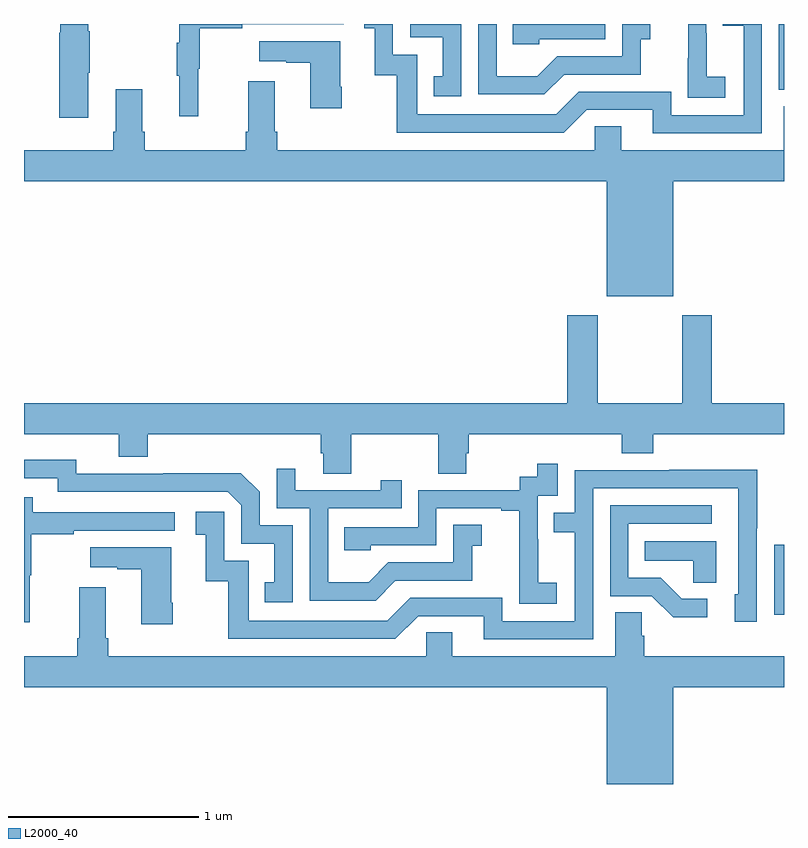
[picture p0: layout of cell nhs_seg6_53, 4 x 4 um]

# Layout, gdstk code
import gdstk
lib = gdstk.Library(unit=1e-6, precision=1e-09)
def R(c, l, rs):  # rectangles x0, y0, x1, y1
    for r in rs: c.add(gdstk.rectangle(r[:2], r[2:], *l))
def P(c, l, *ps):  # polygons
    for p in ps: c.add(gdstk.Polygon(p, *l))
L2000_40 = (2000, 40)

nhs_seg6_53 = lib.new_cell('nhs_seg6_53')
R(nhs_seg6_53, L2000_40, [(116.949,942.39,117,942.76), (116.973,945.153,117,945.5)])
P(nhs_seg6_53, L2000_40, [(116.883,945.5),(116.677,945.5),(116.677,945.49),(116.787,945.49),(116.787,945.021),(116.406,945.021),(116.406,945.144),(115.92,945.144),(115.8,945.024),(115.071,945.024),(115.071,945.339),(114.942,945.339),(114.942,945.5),(114.792,945.5),(114.792,945.477),(114.845,945.477),(114.845,945.231),(114.963,945.231),(114.963,944.928),(115.842,944.928),(115.962,945.048),(116.309,945.048),(116.309,944.925),(116.883,944.925)],
  [(115.713,945.42),(116.058,945.42),(116.058,945.5),(115.573,945.5),(115.573,945.393),(115.713,945.393)],
  [(116.692,945.223),(116.594,945.223),(116.594,945.452),(116.592,945.452),(116.592,945.5),(116.495,945.5),(116.495,945.319),(116.494,945.319),(116.494,945.113),(116.692,945.113)],
  [(113.918,945.264),(113.926,945.264),(113.926,945.478),(114.149,945.478),(114.149,945.498),(114.682,945.498),(114.682,945.5),(113.816,945.5),(113.816,945.401),(113.805,945.401),(113.805,945.227),(113.816,945.227),(113.816,945.015),(113.918,945.015)],
  [(113.338,945.244),(113.346,945.244),(113.346,945.461),(113.338,945.461),(113.338,945.5),(113.192,945.5),(113.192,945.455),(113.185,945.455),(113.185,945.006),(113.338,945.006)],
  [(115.843,945.234),(116.247,945.234),(116.247,945.419),(116.296,945.419),(116.296,945.5),(116.148,945.5),(116.148,945.33),(115.806,945.33),(115.702,945.226),(115.488,945.226),(115.488,945.5),(115.392,945.5),(115.392,945.129),(115.738,945.129)],
  [(115.302,945.5),(115.032,945.5),(115.032,945.429),(115.205,945.429),(115.205,945.225),(115.156,945.225),(115.156,945.12),(115.302,945.12)],
  [(114.672,945.169),(114.664,945.169),(114.664,945.409),(114.237,945.409),(114.237,945.305),(114.38,945.305),(114.38,945.295),(114.506,945.295),(114.506,945.057),(114.672,945.057)],
  [(116.416,944.672),(117,944.672),(117,945.068),(116.999,945.068),(116.999,944.836),(116.143,944.836),(116.143,944.963),(116.004,944.963),(116.004,944.836),(114.332,944.836),(114.332,944.932),(114.319,944.932),(114.319,945.199),(114.179,945.199),(114.179,944.932),(114.167,944.932),(114.167,944.836),(113.636,944.836),(113.636,944.932),(113.623,944.932),(113.623,945.157),(113.483,945.157),(113.483,944.932),(113.471,944.932),(113.471,944.836),(113,944.836),(113,944.672),(116.066,944.672),(116.066,944.066),(116.416,944.066)],
  [(114.723,943.34),(115.18,943.34),(115.18,943.132),(115.327,943.132),(115.327,943.242),(115.34,943.242),(115.34,943.34),(116.147,943.34),(116.147,943.241),(116.312,943.241),(116.312,943.34),(117,943.34),(117,943.504),(116.619,943.504),(116.619,943.966),(116.464,943.966),(116.464,943.504),(116.019,943.504),(116.019,943.966),(115.859,943.966),(115.859,943.504),(113,943.504),(113,943.34),(113.498,943.34),(113.498,943.223),(113.651,943.223),(113.651,943.34),(114.563,943.34),(114.563,943.242),(114.575,943.242),(114.575,943.132),(114.723,943.132)],
  [(114.414,942.861),(114.24,942.861),(114.24,943.038),(114.142,943.136),(113.734,943.136),(113.734,943.134),(113.274,943.134),(113.274,943.207),(113,943.207),(113,943.11),(113.178,943.11),(113.178,943.038),(114.072,943.038),(114.144,942.966),(114.144,942.765),(114.317,942.765),(114.317,942.561),(114.268,942.561),(114.268,942.456),(114.414,942.456)],
  [(115.804,942.559),(115.706,942.559),(115.706,942.788),(115.704,942.788),(115.704,943.017),(115.809,943.017),(115.809,943.186),(115.701,943.186),(115.701,943.116),(115.608,943.116),(115.608,943.047),(115.074,943.047),(115.074,942.852),(114.685,942.852),(114.685,942.729),(114.825,942.729),(114.825,942.756),(115.17,942.756),(115.17,942.951),(115.511,942.951),(115.511,942.939),(115.607,942.939),(115.607,942.655),(115.606,942.655),(115.606,942.449),(115.804,942.449)],
  [(114.955,942.57),(115.359,942.57),(115.359,942.755),(115.408,942.755),(115.408,942.865),(115.26,942.865),(115.26,942.666),(114.918,942.666),(114.814,942.562),(114.6,942.562),(114.6,942.951),(114.989,942.951),(114.989,943.099),(114.878,943.099),(114.878,943.047),(114.427,943.047),(114.427,943.159),(114.33,943.159),(114.33,942.951),(114.504,942.951),(114.504,942.465),(114.85,942.465)],
  [(115.995,943.056),(116.76,943.056),(116.76,942.498),(116.741,942.498),(116.741,942.354),(116.856,942.354),(116.856,942.847),(116.859,942.847),(116.859,943.154),(116.395,943.154),(116.395,943.152),(115.899,943.152),(115.899,942.927),(115.789,942.927),(115.789,942.826),(115.899,942.826),(115.899,942.357),(115.518,942.357),(115.518,942.48),(115.032,942.48),(114.912,942.36),(114.183,942.36),(114.183,942.675),(114.054,942.675),(114.054,942.934),(113.904,942.934),(113.904,942.813),(113.957,942.813),(113.957,942.567),(114.075,942.567),(114.075,942.264),(114.954,942.264),(115.074,942.384),(115.421,942.384),(115.421,942.261),(115.995,942.261)],
  [(113.03,942.6),(113.038,942.6),(113.038,942.814),(113.261,942.814),(113.261,942.834),(113.794,942.834),(113.794,942.93),(113.045,942.93),(113.045,943.009),(113,943.009),(113,942.351),(113.03,942.351)],
  [(116.596,942.474),(116.461,942.474),(116.35,942.585),(116.181,942.585),(116.181,942.87),(116.62,942.87),(116.62,942.966),(116.085,942.966),(116.085,942.489),(116.304,942.489),(116.417,942.377),(116.596,942.377)],
  [(116.644,942.778),(116.266,942.778),(116.266,942.674),(116.523,942.674),(116.523,942.559),(116.644,942.559)],
  [(113.784,942.454),(113.776,942.454),(113.776,942.745),(113.349,942.745),(113.349,942.641),(113.492,942.641),(113.492,942.631),(113.618,942.631),(113.618,942.342),(113.784,942.342)],
  [(116.416,942.008),(117,942.008),(117,942.172),(116.264,942.172),(116.264,942.281),(116.25,942.281),(116.25,942.404),(116.111,942.404),(116.111,942.172),(115.255,942.172),(115.255,942.299),(115.116,942.299),(115.116,942.172),(113.444,942.172),(113.444,942.268),(113.431,942.268),(113.431,942.535),(113.291,942.535),(113.291,942.268),(113.279,942.268),(113.279,942.172),(113,942.172),(113,942.008),(116.066,942.008),(116.066,941.5),(116.416,941.5)])

lib.write_gds('nhs_seg6_53.gds')
